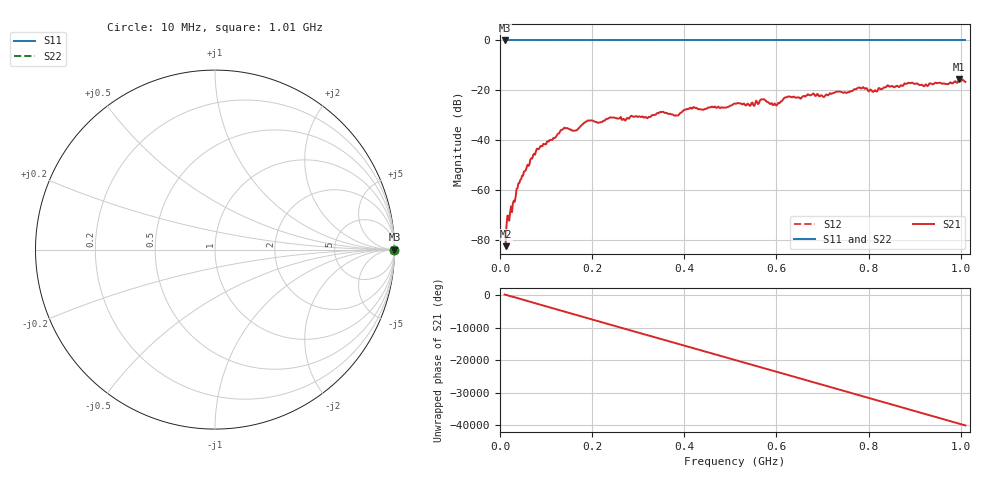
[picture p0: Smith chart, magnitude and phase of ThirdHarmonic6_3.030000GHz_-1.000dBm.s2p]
! 8/17/2025 8:44:46 AM
! C:\ANRITSUVNA\TEMP\TEMP.S2P
! CHANNEL.1
! TR.MEASUREMENT
! RAW.DATA
! RF.CORRECTION.OFF
! AVERAGING.OFF
! IF.BANDWIDTH: 5KHZ
! SWEEPTYPE:  FREQ.SWEEP(Linear)
! Reference Plane Port Info
! PORT:  PORT1  PORT2
! DISTANCE:  0  m  0  m
! TIME:  0  s  0  s
! PHASE.OFFSET:  0  deg.  0  deg.
! LOSS:  0  dB  0  dB
! REF.LOSS:  0  dB  0  dB
! REF.FREQ:  0  Hz  0  Hz
! Power Info
! POWER:  -20  dBm  -20  dBm
! EFF.POWER:  -20  dBm  -20  dBm
! SOURCE.ATTEN:  0  dB  0  dB
! TEST.ATTEN:  0  dB  0  dB
# GHZ S RI R 50.0
! FREQ.GHZ  S11RE  S11IM  S21RE  S21IM  S12RE  S12IM  S22RE  S22IM
!; PortSelection: Port_12
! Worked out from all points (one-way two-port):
!   501 points, 10 MHz to 1.01 GHz, reference 50 ohm
!   highest |S21| = -15.53 dB at 996 MHz (marker M1); lowest = -82.4 dB at 12 MHz (marker M2)
!   lowest |S11| = 0.0 dB at 10 MHz (marker M3)
!   |S11| at or under -10 dB: nowhere
!   |S22| runs from 0.0 to 0.0 dB; largest |S21 - S12| = 1.1
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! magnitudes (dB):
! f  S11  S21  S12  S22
! 10 MHz  0.0  -81.6  0.0  0.0
! 12 MHz  0.0  -82.4  0.0  0.0
! 20 MHz  0.0  -72.1  0.0  0.0
! 30 MHz  0.0  -64.1  0.0  0.0
! 40 MHz  0.0  -57.2  0.0  0.0
! 76 MHz  0.0  -45.8  0.0  0.0
! 136 MHz  0.0  -35.6  0.0  0.0
! 164 MHz  0.0  -36.1  0.0  0.0
! 178 MHz  0.0  -33.7  0.0  0.0
! 344 MHz  0.0  -29.1  0.0  0.0
! 382 MHz  0.0  -30.0  0.0  0.0
! 410 MHz  0.0  -27.4  0.0  0.0
! 510 MHz  0.0  -25.3  0.0  0.0
! 570 MHz  0.0  -23.6  0.0  0.0
! 596 MHz  0.0  -25.2  0.0  0.0
! 622 MHz  0.0  -22.7  0.0  0.0
! 678 MHz  0.0  -21.6  0.0  0.0
! 784 MHz  0.0  -19.3  0.0  0.0
! 814 MHz  0.0  -19.9  0.0  0.0
! 844 MHz  0.0  -18.3  0.0  0.0
! 996 MHz  0.0  -15.5  0.0  0.0
! 1.01 GHz  0.0  -16.6  0.0  0.0
